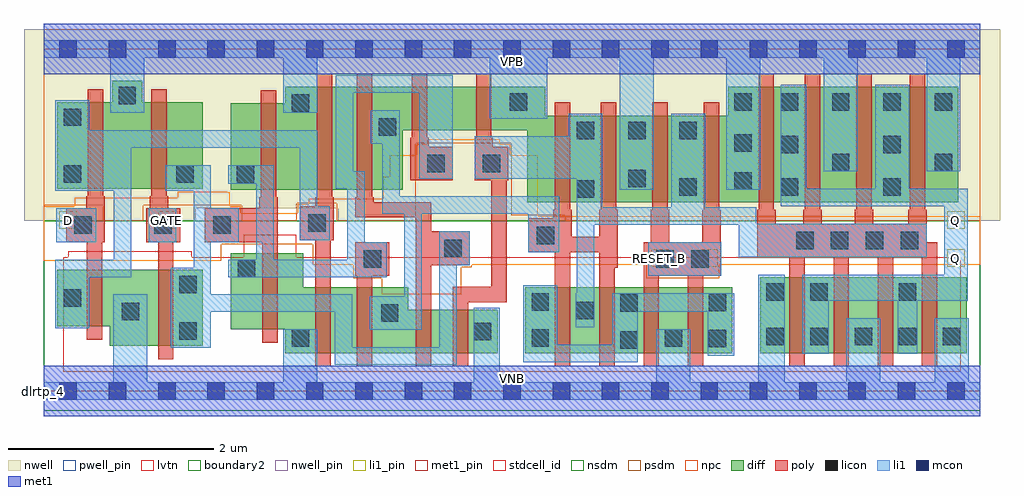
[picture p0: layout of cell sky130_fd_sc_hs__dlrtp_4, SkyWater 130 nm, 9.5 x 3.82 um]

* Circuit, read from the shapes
.subckt sky130_fd_sc_hs__dlrtp_4 D GATE Q RESET_B VGND VNB VPB VPWR
XM1 VGND D n1 VNB sky130_fd_pr__nfet_01v8_lvt w=0.55 l=0.15
XM2 n2 GATE VGND VNB sky130_fd_pr__nfet_01v8_lvt w=0.74 l=0.15
XM3 VGND n2 n3 VNB sky130_fd_pr__nfet_01v8_lvt w=0.74 l=0.15
XM4 n4 n1 VGND VNB sky130_fd_pr__nfet_01v8_lvt w=0.64 l=0.15
XM5 n5 n3 n4 VNB sky130_fd_pr__nfet_01v8_lvt w=0.64 l=0.15
XM6 n6 n2 n5 VNB sky130_fd_pr__nfet_01v8_lvt w=0.42 l=0.15
XM7 VGND n7 n6 VNB sky130_fd_pr__nfet_01v8_lvt w=0.42 l=0.15
XM8 n7 n5 n8 VNB sky130_fd_pr__nfet_01v8_lvt w=0.64 l=0.15 m=2
XM9 VGND RESET_B n8 VNB sky130_fd_pr__nfet_01v8_lvt w=0.64 l=0.15 m=2
XM10 Q n7 VGND VNB sky130_fd_pr__nfet_01v8_lvt w=0.74 l=0.15 m=4
XM11 VPWR D n1 VPB sky130_fd_pr__pfet_01v8 w=0.84 l=0.15
XM12 n2 GATE VPWR VPB sky130_fd_pr__pfet_01v8 w=0.84 l=0.15
XM13 VPWR n2 n3 VPB sky130_fd_pr__pfet_01v8 w=0.84 l=0.15
XM14 n9 n1 VPWR VPB sky130_fd_pr__pfet_01v8 w=1 l=0.15
XM15 n5 n2 n9 VPB sky130_fd_pr__pfet_01v8 w=1 l=0.15
XM16 n10 n3 n5 VPB sky130_fd_pr__pfet_01v8 w=0.42 l=0.15
XM17 VPWR n7 n10 VPB sky130_fd_pr__pfet_01v8 w=0.42 l=0.15
XM18 n7 n5 VPWR VPB sky130_fd_pr__pfet_01v8 w=0.84 l=0.15 m=2
XM19 n7 RESET_B VPWR VPB sky130_fd_pr__pfet_01v8 w=0.84 l=0.15 m=2
XM20 Q n7 VPWR VPB sky130_fd_pr__pfet_01v8 w=1.12 l=0.15 m=4
.ends

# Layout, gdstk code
import gdstk
lib = gdstk.Library(unit=1e-6, precision=1e-09)
def R(c, l, rs):  # rectangles x0, y0, x1, y1
    for r in rs: c.add(gdstk.rectangle(r[:2], r[2:], *l))
def A(c, l, x, y, w, h, nx, ny, dx, dy):  # array of equal rectangles
    R(c, l, [(x+i*dx, y+j*dy, x+i*dx+w, y+j*dy+h) for i in range(nx) for j in range(ny)])
def P(c, l, *ps):  # polygons
    for p in ps: c.add(gdstk.Polygon(p, *l))
nwell_pin = (64, 16)
nwell = (64, 20)
diff = (65, 20)
poly = (66, 20)
licon = (66, 44)
li1_pin = (67, 16)
li1 = (67, 20)
mcon = (67, 44)
met1_pin = (68, 16)
met1 = (68, 20)
stdcell_id = (81, 4)
nsdm = (93, 44)
psdm = (94, 20)
npc = (95, 20)
pwell_pin = (122, 16)
lvtn = (125, 44)
boundary2 = (236, 0)

sky130_fd_sc_hs__dlrtp_4 = lib.new_cell('sky130_fd_sc_hs__dlrtp_4')
R(sky130_fd_sc_hs__dlrtp_4, nwell_pin, [(0,3.085,9.12,3.33)])
P(sky130_fd_sc_hs__dlrtp_4, nwell, [(9.31,3.52),(-0.19,3.52),(-0.19,1.66),(1.48,1.66),(1.48,1.78),(2.87,1.78),(2.87,1.66),(9.31,1.66)])
R(sky130_fd_sc_hs__dlrtp_4, diff, [(4.69,0.37,6.705,1.01), (6.975,0.37,8.985,1.11)])
P(sky130_fd_sc_hs__dlrtp_4, diff, [(1.55,2.81),(0.96,2.81),(0.96,3.02),(0.67,3.02),(0.67,2.81),(0.135,2.81),(0.135,1.97),(1.55,1.97)],
  [(1.55,1.18),(0.135,1.18),(0.135,0.63),(0.645,0.63),(0.645,0.44),(1.55,0.44)],
  [(4.42,0.79),(3.55,0.79),(3.55,1.01),(2.53,1.01),(2.53,1.34),(1.82,1.34),(1.82,0.6),(2.355,0.6),(2.355,0.37),(4.42,0.37)],
  [(8.905,2.96),(6.665,2.96),(6.665,2.68),(4.885,2.68),(4.885,2.96),(2.355,2.96),(2.355,2.8),(1.82,2.8),(1.82,1.96),(3.495,1.96),(3.495,2.54),(4.71,2.54),(4.71,1.84),(8.905,1.84)])
P(sky130_fd_sc_hs__dlrtp_4, poly, [(8.7,1.45),(8.595,1.45),(8.595,1.765),(8.58,1.765),(8.58,3.09),(8.43,3.09),(8.43,1.765),(8.415,1.765),(8.415,1.63),(8.075,1.63),(8.075,1.765),(8.06,1.765),(8.06,3.09),(7.91,3.09),(7.91,1.765),(7.895,1.765),(7.895,1.63),(7.575,1.63),(7.575,1.765),(7.56,1.765),(7.56,3.09),(7.41,3.09),(7.41,1.765),(7.395,1.765),(7.395,1.63),(7.125,1.63),(7.125,1.765),(7.11,1.765),(7.11,3.09),(6.96,3.09),(6.96,1.765),(6.945,1.765),(6.945,1.3),(7.26,1.3),(7.26,0.24),(7.41,0.24),(7.41,1.3),(7.69,1.3),(7.69,0.24),(7.84,0.24),(7.84,1.3),(8.12,1.3),(8.12,0.24),(8.27,0.24),(8.27,1.3),(8.55,1.3),(8.55,0.24),(8.7,0.24)],
  [(6.59,1.765),(6.575,1.765),(6.575,2.81),(6.425,2.81),(6.425,1.765),(6.41,1.765),(6.41,1.45),(6.09,1.45),(6.09,1.765),(6.075,1.765),(6.075,2.81),(5.925,2.81),(5.925,1.765),(5.91,1.765),(5.91,1.45),(5.84,1.45),(5.84,0.24),(5.99,0.24),(5.99,1.12),(6.27,1.12),(6.27,0.24),(6.42,0.24),(6.42,1.12),(6.59,1.12)],
  [(5.59,1.765),(5.575,1.765),(5.575,2.81),(5.425,2.81),(5.425,1.765),(5.41,1.765),(5.41,1.5),(5.14,1.5),(5.14,1.765),(5.125,1.765),(5.125,2.81),(4.975,2.81),(4.975,1.765),(4.96,1.765),(4.96,1.68),(4.72,1.68),(4.72,1.35),(4.975,1.35),(4.975,0.24),(5.125,0.24),(5.125,1.35),(5.41,1.35),(5.41,0.24),(5.56,0.24),(5.56,1.2),(5.59,1.2)],
  [(4.525,2.38),(4.375,2.38),(4.375,2.465),(4.36,2.465),(4.36,3.09),(4.21,3.09),(4.21,2.465),(4.195,2.465),(4.195,2.05),(4.36,2.05),(4.36,1.015),(3.985,1.015),(3.985,0.24),(4.135,0.24),(4.135,0.865),(4.51,0.865),(4.51,2.05),(4.525,2.05)],
  [(4.15,1.555),(3.775,1.555),(3.775,1.84),(3.215,1.84),(3.215,1.885),(3.2,1.885),(3.2,3.09),(3.05,3.09),(3.05,1.885),(3.035,1.885),(3.035,1.69),(3.625,1.69),(3.625,0.24),(3.775,0.24),(3.775,1.225),(4.15,1.225)],
  [(3.985,2.38),(3.75,2.38),(3.75,2.465),(3.735,2.465),(3.735,3.09),(3.585,3.09),(3.585,2.465),(3.57,2.465),(3.57,2.05),(3.985,2.05)],
  [(3.365,1.45),(3.035,1.45),(3.035,1.12),(3.05,1.12),(3.05,0.24),(3.2,0.24),(3.2,1.12),(3.365,1.12)],
  [(2.825,1.885),(2.81,1.885),(2.81,3.09),(2.66,3.09),(2.66,1.885),(2.645,1.885),(2.645,1.8),(2.495,1.8),(2.495,1.47),(2.645,1.47),(2.645,0.24),(2.795,0.24),(2.795,1.47),(2.825,1.47)],
  [(2.28,1.885),(2.265,1.885),(2.265,2.93),(2.115,2.93),(2.115,1.885),(2.1,1.885),(2.1,1.78),(1.57,1.78),(1.57,1.45),(2.13,1.45),(2.13,0.47),(2.28,0.47)],
  [(1.33,1.78),(1.215,1.78),(1.215,1.895),(1.2,1.895),(1.2,2.94),(1.05,2.94),(1.05,1.895),(1.035,1.895),(1.035,1.78),(1,1.78),(1,1.45),(1.115,1.45),(1.115,0.31),(1.265,0.31),(1.265,1.45),(1.33,1.45)],
  [(0.595,1.895),(0.58,1.895),(0.58,2.94),(0.43,2.94),(0.43,1.895),(0.415,1.895),(0.415,1.78),(0.22,1.78),(0.22,1.45),(0.42,1.45),(0.42,0.5),(0.57,0.5),(0.57,1.45),(0.595,1.45)])
A(sky130_fd_sc_hs__dlrtp_4, licon, 7.035, 0.445, 0.17, 0.17, 5, 1, 0.43, 0)
A(sky130_fd_sc_hs__dlrtp_4, licon, 7.325, 1.38, 0.17, 0.17, 4, 1, 0.34, 0)
A(sky130_fd_sc_hs__dlrtp_4, licon, 5.19, 2.45, 0.17, 0.17, 3, 1, 0.5, 0)
A(sky130_fd_sc_hs__dlrtp_4, licon, 7.175, 2.73, 0.17, 0.17, 4, 1, 0.5, 0)
R(sky130_fd_sc_hs__dlrtp_4, licon, [(5.615,0.41,5.785,0.58), (6.475,0.425,6.645,0.595), (2.415,0.43,2.585,0.6), (4.75,0.43,4.92,0.6), (6.045,0.43,6.215,0.6), (4.19,0.495,4.36,0.665), (1.32,0.5,1.49,0.67), (3.285,0.675,3.455,0.845), (0.76,0.69,0.93,0.86), (5.18,0.7,5.35,0.87), (5.615,0.77,5.785,0.94), (6.475,0.775,6.645,0.945), (4.75,0.78,4.92,0.95), (0.195,0.82,0.365,0.99), (7.035,0.88,7.205,1.05), (7.465,0.88,7.635,1.05), (8.325,0.88,8.495,1.05), (1.32,0.95,1.49,1.12), (1.89,1.11,2.06,1.28), (3.115,1.2,3.285,1.37), (5.965,1.2,6.135,1.37), (6.305,1.2,6.475,1.37), (3.9,1.305,4.07,1.475), (4.8,1.43,4.97,1.6), (0.3,1.53,0.47,1.7), (1.08,1.53,1.25,1.7), (1.65,1.53,1.82,1.7), (2.575,1.55,2.745,1.72), (5.19,1.88,5.36,2.05), (6.19,1.9,6.36,2.07), (7.175,1.9,7.345,2.07), (8.175,1.9,8.345,2.07), (6.725,1.96,6.895,2.13), (5.69,1.985,5.86,2.155), (1.88,2.025,2.05,2.195), (0.195,2.03,0.365,2.2), (1.29,2.03,1.46,2.2), (3.735,2.13,3.905,2.3), (4.275,2.13,4.445,2.3), (7.675,2.14,7.845,2.31), (8.675,2.14,8.845,2.31), (7.175,2.315,7.345,2.485), (8.175,2.315,8.345,2.485), (6.725,2.33,6.895,2.5), (3.265,2.485,3.435,2.655), (0.195,2.58,0.365,2.75), (2.415,2.72,2.585,2.89), (4.54,2.73,4.71,2.9), (6.725,2.73,6.895,2.9), (0.73,2.79,0.9,2.96)])
R(sky130_fd_sc_hs__dlrtp_4, li1_pin, [(5.915,1.21,6.085,1.38), (6.395,1.21,6.565,1.38), (8.795,1.21,8.965,1.38), (0.155,1.58,0.325,1.75), (1.115,1.58,1.285,1.75), (8.795,1.58,8.965,1.75)])
R(sky130_fd_sc_hs__dlrtp_4, li1, [(5.885,1.12,6.595,1.45), (0.125,1.45,0.515,1.78), (1.025,1.45,1.29,1.78)])
P(sky130_fd_sc_hs__dlrtp_4, li1, [(1.8,1.11),(1.8,1.28),(2.07,1.28),(2.07,2.02),(1.8,2.02),(1.8,2.2),(2.24,2.2),(2.24,1.28),(2.955,1.28),(2.955,1.97),(2.845,1.97),(2.845,3.075),(3.985,3.075),(3.985,2.065),(3.655,2.065),(3.655,2.905),(3.015,2.905),(3.015,2.14),(3.125,2.14),(3.125,1.45),(3.34,1.45),(3.34,1.11)],
  [(0.65,2.71),(0.65,3.245),(0,3.245),(0,3.415),(9.12,3.415),(9.12,3.245),(8.925,3.245),(8.925,2.14),(8.595,2.14),(8.595,3.245),(7.925,3.245),(7.925,2.14),(7.595,2.14),(7.595,3.245),(6.975,3.245),(6.975,1.96),(6.645,1.96),(6.645,3.245),(5.94,3.245),(5.94,1.96),(5.61,1.96),(5.61,3.245),(4.905,3.245),(4.905,2.65),(4.345,2.65),(4.345,3.245),(2.665,3.245),(2.665,2.71),(2.335,2.71),(2.335,3.245),(0.98,3.245),(0.98,2.71)],
  [(2.335,0.085),(2.335,0.6),(2.665,0.6),(2.665,0.085),(4.19,0.085),(4.19,0.81),(4.44,0.81),(4.44,0.085),(5.965,0.085),(5.965,0.6),(6.295,0.6),(6.295,0.085),(6.955,0.085),(6.955,1.13),(7.215,1.13),(7.215,0.085),(7.815,0.085),(7.815,0.71),(8.145,0.71),(8.145,0.085),(8.675,0.085),(8.675,0.71),(9.005,0.71),(9.005,0.085),(9.12,0.085),(9.12,-0.085),(0,-0.085),(0,0.085),(0.68,0.085),(0.68,0.94),(1.01,0.94),(1.01,0.085)],
  [(8.595,1.63),(6.935,1.63),(6.935,1.79),(6.44,1.79),(6.44,2.7),(6.11,2.7),(6.11,1.79),(5.44,1.79),(5.44,2.7),(5.11,2.7),(5.11,2.48),(4.195,2.48),(4.195,2.065),(5.19,2.065),(5.19,0.95),(5.18,0.95),(5.18,0.62),(5.36,0.62),(5.36,1.62),(6.765,1.62),(6.765,1.3),(8.595,1.3)],
  [(2.835,0.255),(2.835,0.77),(1.63,0.77),(1.63,0.42),(1.24,0.42),(1.24,1.2),(1.46,1.2),(1.46,1.95),(1.185,1.95),(1.185,2.2),(1.63,2.2),(1.63,1.78),(1.9,1.78),(1.9,1.45),(1.63,1.45),(1.63,0.94),(3.005,0.94),(3.005,0.425),(3.85,0.425),(3.85,1.555),(4.15,1.555),(4.15,1.225),(4.02,1.225),(4.02,0.255)],
  [(0.685,1.28),(0.685,1.95),(0.115,1.95),(0.115,2.83),(0.445,2.83),(0.445,2.54),(2.665,2.54),(2.665,1.8),(2.785,1.8),(2.785,1.47),(2.495,1.47),(2.495,2.37),(0.855,2.37),(0.855,1.11),(0.445,1.11),(0.445,0.61),(0.115,0.61),(0.115,1.28)],
  [(3.51,0.925),(3.51,1.725),(3.295,1.725),(3.295,2.405),(3.185,2.405),(3.185,2.735),(3.465,2.735),(3.465,1.895),(5.02,1.895),(5.02,1.35),(4.72,1.35),(4.72,1.725),(3.68,1.725),(3.68,0.595),(3.175,0.595),(3.175,0.925)],
  [(6.725,0.95),(5.535,0.95),(5.535,0.45),(5,0.45),(5,1.03),(4.67,1.03),(4.67,0.28),(5.785,0.28),(5.785,0.77),(6.465,0.77),(6.465,0.345),(6.725,0.345)],
  [(8.995,1.97),(8.425,1.97),(8.425,2.98),(8.095,2.98),(8.095,1.97),(7.425,1.97),(7.425,2.98),(7.175,2.98),(7.175,1.8),(8.765,1.8),(8.765,1.13),(7.385,1.13),(7.385,0.365),(7.645,0.365),(7.645,0.88),(8.315,0.88),(8.315,0.365),(8.505,0.365),(8.505,0.88),(8.995,0.88)])
A(sky130_fd_sc_hs__dlrtp_4, mcon, 0.155, -0.085, 0.17, 0.17, 19, 2, 0.48, 3.33)
R(sky130_fd_sc_hs__dlrtp_4, met1_pin, [(0,0,9.12,0.245), (0,3.085,9.12,3.33)])
R(sky130_fd_sc_hs__dlrtp_4, met1, [(0,-0.245,9.12,0.245), (0,3.085,9.12,3.575)])
R(sky130_fd_sc_hs__dlrtp_4, stdcell_id, [(0,0,9.12,3.33)])
R(sky130_fd_sc_hs__dlrtp_4, nsdm, [(0,-0.19,9.12,1.66)])
P(sky130_fd_sc_hs__dlrtp_4, psdm, [(9.12,3.52),(0,3.52),(0,1.81),(0.58,1.81),(0.58,1.66),(0.97,1.66),(0.97,1.81),(1.93,1.81),(1.93,1.66),(2.465,1.66),(2.465,1.83),(2.855,1.83),(2.855,1.66),(3.625,1.66),(3.625,2.41),(4.555,2.41),(4.555,1.71),(5.08,1.71),(5.08,1.66),(9.12,1.66)])
P(sky130_fd_sc_hs__dlrtp_4, npc, [(9.12,1.7),(4.81,1.7),(4.81,2.295),(4.545,2.295),(4.545,2.4),(4.44,2.4),(4.44,2.45),(3.74,2.45),(3.74,2.4),(3.635,2.4),(3.635,2.295),(3.37,2.295),(3.37,2.085),(3.305,2.085),(3.305,1.87),(2.58,1.87),(2.58,1.82),(2.475,1.82),(2.475,1.73),(1.92,1.73),(1.92,1.8),(1.815,1.8),(1.815,1.935),(1.79,1.935),(1.79,1.94),(1.305,1.94),(1.305,1.88),(0.305,1.88),(0.305,1.8),(0,1.8),(0,1.27),(1.73,1.27),(1.73,1.43),(2.62,1.43),(2.62,1.23),(3.015,1.23),(3.015,1.1),(3.29,1.1),(3.29,0.94),(4.065,0.94),(4.065,1.205),(4.17,1.205),(4.17,1.23),(5.865,1.23),(5.865,1.1),(6.575,1.1),(6.575,1.23),(9.12,1.23)])
R(sky130_fd_sc_hs__dlrtp_4, pwell_pin, [(0,0,9.12,0.245)])
P(sky130_fd_sc_hs__dlrtp_4, lvtn, [(8.93,1.3),(2.46,1.3),(2.46,1.52),(1.95,1.52),(1.95,1.3),(1.445,1.3),(1.445,1.36),(0.24,1.36),(0.24,1.3),(0.19,1.3),(0.19,0.19),(8.93,0.19)])
R(sky130_fd_sc_hs__dlrtp_4, boundary2, [(0,0,9.12,3.33)])
sky130_fd_sc_hs__dlrtp_4.add(gdstk.Label('dlrtp_4', (0,0), layer=83, texttype=44))
sky130_fd_sc_hs__dlrtp_4.add(gdstk.Label('VNB', (4.56,0.123), layer=64, texttype=59))
sky130_fd_sc_hs__dlrtp_4.add(gdstk.Label('VPB', (4.56,3.208), layer=64, texttype=5))
sky130_fd_sc_hs__dlrtp_4.add(gdstk.Label('VPWR', (4.56,3.208), layer=68, texttype=5))
sky130_fd_sc_hs__dlrtp_4.add(gdstk.Label('VGND', (4.56,0.123), layer=68, texttype=5))
sky130_fd_sc_hs__dlrtp_4.add(gdstk.Label('D', (0.24,1.665), layer=67, texttype=5))
sky130_fd_sc_hs__dlrtp_4.add(gdstk.Label('GATE', (1.2,1.665), layer=67, texttype=5))
sky130_fd_sc_hs__dlrtp_4.add(gdstk.Label('RESET_B', (6,1.295), layer=67, texttype=5))
sky130_fd_sc_hs__dlrtp_4.add(gdstk.Label('RESET_B', (6.48,1.295), layer=67, texttype=5))
sky130_fd_sc_hs__dlrtp_4.add(gdstk.Label('Q', (8.88,1.295), layer=67, texttype=5))
sky130_fd_sc_hs__dlrtp_4.add(gdstk.Label('Q', (8.88,1.665), layer=67, texttype=5))

lib.write_gds('sky130_fd_sc_hs__dlrtp_4.gds')
